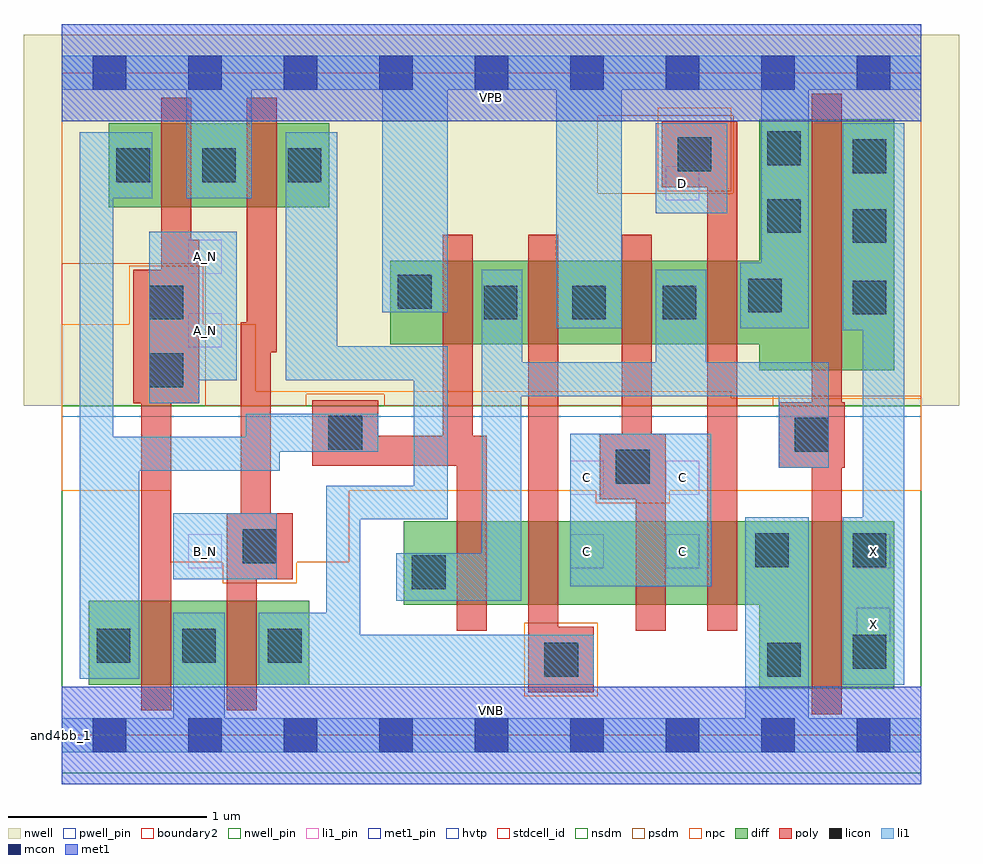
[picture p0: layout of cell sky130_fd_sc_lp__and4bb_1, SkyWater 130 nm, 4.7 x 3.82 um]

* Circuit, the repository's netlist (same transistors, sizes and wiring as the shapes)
* Copyright 2020 The SkyWater PDK Authors
*
* Licensed under the Apache License, Version 2.0 (the "License");
* you may not use this file except in compliance with the License.
* You may obtain a copy of the License at
*
*     https://www.apache.org/licenses/LICENSE-2.0
*
* Unless required by applicable law or agreed to in writing, software
* distributed under the License is distributed on an "AS IS" BASIS,
* WITHOUT WARRANTIES OR CONDITIONS OF ANY KIND, either express or implied.
* See the License for the specific language governing permissions and
* limitations under the License.
*
* SPDX-License-Identifier: Apache-2.0

.SUBCKT sky130_fd_sc_lp__and4bb_1 A_N B_N C D VGND VNB VPB VPWR X
*.PININFO A_N:I B_N:I C:I D:I VGND:I VNB:I VPB:I VPWR:I X:O
MMP0 y A VPWR VPB sky130_fd_pr__pfet_01v8_hvt m=1 w=0.42U l=0.15U mult=1 sa=0.265
+ sb=0.265 sd=0.28 area=0.063 perim=1.14
MMP1 y B VPWR VPB sky130_fd_pr__pfet_01v8_hvt m=1 w=0.42U l=0.15U mult=1 sa=0.265
+ sb=0.265 sd=0.28 area=0.063 perim=1.14
MMP2 y C VPWR VPB sky130_fd_pr__pfet_01v8_hvt m=1 w=0.42U l=0.15U mult=1 sa=0.265
+ sb=0.265 sd=0.28 area=0.063 perim=1.14
MMP3 y D VPWR VPB sky130_fd_pr__pfet_01v8_hvt m=1 w=0.42U l=0.15U mult=1 sa=0.265
+ sb=0.265 sd=0.28 area=0.063 perim=1.14
MMIP0 A A_N VPWR VPB sky130_fd_pr__pfet_01v8_hvt m=1 w=0.42U l=0.15U mult=1 sa=0.265
+ sb=0.265 sd=0.28 area=0.063 perim=1.14
MMIP1 B B_N VPWR VPB sky130_fd_pr__pfet_01v8_hvt m=1 w=0.42U l=0.15U mult=1 sa=0.265
+ sb=0.265 sd=0.28 area=0.063 perim=1.14
MMIP2 X y VPWR VPB sky130_fd_pr__pfet_01v8_hvt m=1 w=1.26U l=0.15U mult=1 sa=0.265
+ sb=0.265 sd=0.28 area=0.063 perim=1.14
MMN0 y A sndA VNB sky130_fd_pr__nfet_01v8 m=1 w=0.42U l=0.15U mult=1 sa=0.265 sb=0.265
+ sd=0.28 area=0.063 perim=1.14
MMN1 sndA B sndB VNB sky130_fd_pr__nfet_01v8 m=1 w=0.42U l=0.15U mult=1 sa=0.265
+ sb=0.265 sd=0.28 area=0.063 perim=1.14
MMN2 sndB C sndC VNB sky130_fd_pr__nfet_01v8 m=1 w=0.42U l=0.15U mult=1 sa=0.265
+ sb=0.265 sd=0.28 area=0.063 perim=1.14
MMN3 sndC D VGND VNB sky130_fd_pr__nfet_01v8 m=1 w=0.42U l=0.15U mult=1 sa=0.265
+ sb=0.265 sd=0.28 area=0.063 perim=1.14
MMIN0 A A_N VGND VNB sky130_fd_pr__nfet_01v8 m=1 w=0.42U l=0.15U mult=1 sa=0.265
+ sb=0.265 sd=0.28 area=0.063 perim=1.14
MMIN1 B B_N VGND VNB sky130_fd_pr__nfet_01v8 m=1 w=0.42U l=0.15U mult=1 sa=0.265
+ sb=0.265 sd=0.28 area=0.063 perim=1.14
MMIN2 X y VGND VNB sky130_fd_pr__nfet_01v8 m=1 w=0.84U l=0.15U mult=1 sa=0.265
+ sb=0.265 sd=0.28 area=0.063 perim=1.14
.ENDS sky130_fd_sc_lp__and4bb_1

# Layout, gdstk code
import gdstk
lib = gdstk.Library(unit=1e-6, precision=1e-09)
def R(c, l, rs):  # rectangles x0, y0, x1, y1
    for r in rs: c.add(gdstk.rectangle(r[:2], r[2:], *l))
def A(c, l, x, y, w, h, nx, ny, dx, dy):  # array of equal rectangles
    R(c, l, [(x+i*dx, y+j*dy, x+i*dx+w, y+j*dy+h) for i in range(nx) for j in range(ny)])
def P(c, l, *ps):  # polygons
    for p in ps: c.add(gdstk.Polygon(p, *l))
nwell_pin = (64, 16)
nwell = (64, 20)
diff = (65, 20)
poly = (66, 20)
licon = (66, 44)
li1_pin = (67, 16)
li1 = (67, 20)
mcon = (67, 44)
met1_pin = (68, 16)
met1 = (68, 20)
hvtp = (78, 44)
stdcell_id = (81, 4)
nsdm = (93, 44)
psdm = (94, 20)
npc = (95, 20)
pwell_pin = (122, 16)
boundary2 = (236, 0)

sky130_fd_sc_lp__and4bb_ = lib.new_cell('sky130_fd_sc_lp__and4bb_1')
R(sky130_fd_sc_lp__and4bb_, nwell_pin, [(0,3.085,4.32,3.33)])
R(sky130_fd_sc_lp__and4bb_, nwell, [(-0.19,1.655,4.51,3.52)])
R(sky130_fd_sc_lp__and4bb_, diff, [(0.135,0.255,1.245,0.675), (0.235,2.655,1.345,3.075)])
P(sky130_fd_sc_lp__and4bb_, diff, [(4.185,3.095),(3.505,3.095),(3.505,2.385),(1.65,2.385),(1.65,1.965),(3.505,1.965),(3.505,1.835),(4.185,1.835)],
  [(4.185,1.075),(1.72,1.075),(1.72,0.655),(3.505,0.655),(3.505,0.235),(4.185,0.235)])
P(sky130_fd_sc_lp__and4bb_, poly, [(0.69,2.49),(0.65,2.49),(0.65,3.205),(0.5,3.205),(0.5,2.34),(0.36,2.34),(0.36,1.67),(0.4,1.67),(0.4,0.125),(0.55,0.125),(0.55,1.67),(0.69,1.67)],
  [(1.16,1.115),(1.05,1.115),(1.05,1.925),(1.08,1.925),(1.08,3.205),(0.93,3.205),(0.93,2.075),(0.9,2.075),(0.9,1.115),(0.83,1.115),(0.83,0.125),(0.98,0.125),(0.98,0.785),(1.16,0.785)],
  [(2.135,1.505),(2.065,1.505),(2.065,2.515),(1.915,2.515),(1.915,1.505),(1.59,1.505),(1.59,1.685),(1.26,1.685),(1.26,1.355),(1.985,1.355),(1.985,0.525),(2.135,0.525)],
  [(2.675,0.545),(2.495,0.545),(2.495,2.515),(2.345,2.515),(2.345,0.215),(2.675,0.215)],
  [(3.035,1.515),(2.965,1.515),(2.965,2.515),(2.815,2.515),(2.815,1.515),(2.705,1.515),(2.705,1.185),(2.885,1.185),(2.885,0.525),(3.035,0.525)],
  [(3.395,3.085),(3.015,3.085),(3.015,2.755),(3.245,2.755),(3.245,0.525),(3.395,0.525)],
  [(3.935,1.675),(3.92,1.675),(3.92,3.225),(3.77,3.225),(3.77,1.675),(3.605,1.675),(3.605,1.345),(3.77,1.345),(3.77,0.105),(3.92,0.105),(3.92,1.345),(3.935,1.345)])
A(sky130_fd_sc_lp__and4bb_, licon, 0.175, 0.365, 0.17, 0.17, 3, 1, 0.43, 0)
A(sky130_fd_sc_lp__and4bb_, licon, 0.275, 2.78, 0.17, 0.17, 3, 1, 0.43, 0)
R(sky130_fd_sc_lp__and4bb_, licon, [(2.425,0.295,2.595,0.465), (3.545,0.295,3.715,0.465), (3.975,0.335,4.145,0.505), (1.76,0.735,1.93,0.905), (3.485,0.845,3.655,1.015), (3.975,0.845,4.145,1.015), (0.91,0.865,1.08,1.035), (2.785,1.265,2.955,1.435), (3.685,1.425,3.855,1.595), (1.34,1.435,1.51,1.605), (0.44,1.75,0.61,1.92), (0.44,2.09,0.61,2.26), (2.12,2.09,2.29,2.26), (2.565,2.09,2.735,2.26), (3.02,2.09,3.19,2.26), (3.975,2.115,4.145,2.285), (3.45,2.125,3.62,2.295), (1.69,2.145,1.86,2.315), (3.975,2.475,4.145,2.645), (3.545,2.525,3.715,2.695), (3.975,2.825,4.145,2.995), (3.095,2.835,3.265,3.005), (3.545,2.865,3.715,3.035)])
R(sky130_fd_sc_lp__and4bb_, li1_pin, [(3.995,0.47,4.165,0.64), (0.635,0.84,0.805,1.01), (2.555,0.84,2.725,1.01), (3.035,0.84,3.205,1.01), (3.995,0.84,4.165,1.01), (2.555,1.21,2.725,1.38), (3.035,1.21,3.205,1.38), (0.635,1.95,0.805,2.12), (0.635,2.32,0.805,2.49), (3.035,2.69,3.205,2.86)])
R(sky130_fd_sc_lp__and4bb_, li1, [(2.555,0.75,3.265,1.515), (0.56,0.785,1.08,1.115), (2.985,2.625,3.345,3.075)])
P(sky130_fd_sc_lp__and4bb_, li1, [(4.32,3.415),(0,3.415),(0,3.245),(0.625,3.245),(0.625,2.7),(0.955,2.7),(0.955,3.245),(1.61,3.245),(1.61,2.125),(1.94,2.125),(1.94,3.245),(2.485,3.245),(2.485,2.045),(2.815,2.045),(2.815,3.245),(3.515,3.245),(3.515,2.375),(3.41,2.375),(3.41,2.045),(3.755,2.045),(3.755,3.245),(4.32,3.245)],
  [(0.56,0.085),(0.56,0.615),(0.82,0.615),(0.82,0.085),(3.435,0.085),(3.435,1.095),(3.755,1.095),(3.755,0.085),(4.32,0.085),(4.32,-0.085),(0,-0.085),(0,0.085)],
  [(1.33,1.255),(1.77,1.255),(1.77,1.785),(1.125,1.785),(1.125,3.03),(1.385,3.03),(1.385,1.955),(1.94,1.955),(1.94,1.085),(1.5,1.085),(1.5,0.505),(2.675,0.505),(2.675,0.255),(0.99,0.255),(0.99,0.615),(1.33,0.615)],
  [(0.88,2.53),(0.44,2.53),(0.44,1.67),(0.69,1.67),(0.69,1.785),(0.88,1.785)],
  [(3.925,0.255),(3.925,1.095),(4.025,1.095),(4.025,2.035),(3.925,2.035),(3.925,3.075),(4.235,3.075),(4.235,0.255)],
  [(2.11,0.915),(2.11,2.34),(2.315,2.34),(2.315,1.875),(2.985,1.875),(2.985,2.34),(3.24,2.34),(3.24,1.875),(3.855,1.875),(3.855,1.345),(3.605,1.345),(3.605,1.705),(2.31,1.705),(2.31,0.675),(1.68,0.675),(1.68,0.915)],
  [(1.59,1.615),(0.925,1.615),(0.925,1.5),(0.26,1.5),(0.26,2.7),(0.455,2.7),(0.455,3.03),(0.09,3.03),(0.09,0.285),(0.39,0.285),(0.39,1.33),(1.095,1.33),(1.095,1.425),(1.59,1.425)])
A(sky130_fd_sc_lp__and4bb_, mcon, 0.155, -0.085, 0.17, 0.17, 9, 2, 0.48, 3.33)
R(sky130_fd_sc_lp__and4bb_, met1_pin, [(0,0,4.32,0.245), (0,3.085,4.32,3.33)])
R(sky130_fd_sc_lp__and4bb_, met1, [(0,-0.245,4.32,0.245), (0,3.085,4.32,3.575)])
R(sky130_fd_sc_lp__and4bb_, hvtp, [(0,1.6,4.32,3.33)])
R(sky130_fd_sc_lp__and4bb_, stdcell_id, [(0,0,4.32,3.33)])
R(sky130_fd_sc_lp__and4bb_, nsdm, [(0,-0.19,4.32,1.655)])
P(sky130_fd_sc_lp__and4bb_, psdm, [(4.32,3.52),(3.375,3.52),(3.375,2.725),(2.695,2.725),(2.695,3.115),(3.375,3.115),(3.375,3.52),(0,3.52),(0,2.37),(0.72,2.37),(0.72,1.655),(1.23,1.655),(1.23,1.715),(1.62,1.715),(1.62,1.655),(3.575,1.655),(3.575,1.705),(4.32,1.705)])
R(sky130_fd_sc_lp__and4bb_, npc, [(2.325,0.195,2.695,0.565), (2.995,2.735,3.365,3.155)])
P(sky130_fd_sc_lp__and4bb_, npc, [(4.32,1.695),(3.365,1.695),(3.365,1.73),(0.975,1.73),(0.975,2.065),(0.71,2.065),(0.71,2.36),(0.34,2.36),(0.34,2.065),(0,2.065),(0,1.23),(0.545,1.23),(0.545,0.87),(0.81,0.87),(0.81,0.765),(1.18,0.765),(1.18,0.87),(1.445,0.87),(1.445,1.23),(2.685,1.23),(2.685,1.165),(3.055,1.165),(3.055,1.23),(4.32,1.23)])
R(sky130_fd_sc_lp__and4bb_, pwell_pin, [(0,0,4.32,0.245)])
R(sky130_fd_sc_lp__and4bb_, boundary2, [(0,0,4.32,3.33)])
sky130_fd_sc_lp__and4bb_.add(gdstk.Label('VNB', (2.16,0.123), layer=64, texttype=59))
sky130_fd_sc_lp__and4bb_.add(gdstk.Label('VPB', (2.16,3.208), layer=64, texttype=5))
sky130_fd_sc_lp__and4bb_.add(gdstk.Label('and4bb_1', (0,0), layer=83, texttype=44))
sky130_fd_sc_lp__and4bb_.add(gdstk.Label('VPWR', (2.16,3.208), layer=68, texttype=5))
sky130_fd_sc_lp__and4bb_.add(gdstk.Label('VGND', (2.16,0.123), layer=68, texttype=5))
sky130_fd_sc_lp__and4bb_.add(gdstk.Label('C', (2.64,0.925), layer=67, texttype=5))
sky130_fd_sc_lp__and4bb_.add(gdstk.Label('C', (2.64,1.295), layer=67, texttype=5))
sky130_fd_sc_lp__and4bb_.add(gdstk.Label('C', (3.12,0.925), layer=67, texttype=5))
sky130_fd_sc_lp__and4bb_.add(gdstk.Label('C', (3.12,1.295), layer=67, texttype=5))
sky130_fd_sc_lp__and4bb_.add(gdstk.Label('A_N', (0.72,2.035), layer=67, texttype=5))
sky130_fd_sc_lp__and4bb_.add(gdstk.Label('A_N', (0.72,2.405), layer=67, texttype=5))
sky130_fd_sc_lp__and4bb_.add(gdstk.Label('X', (4.08,0.555), layer=67, texttype=5))
sky130_fd_sc_lp__and4bb_.add(gdstk.Label('X', (4.08,0.925), layer=67, texttype=5))
sky130_fd_sc_lp__and4bb_.add(gdstk.Label('D', (3.12,2.775), layer=67, texttype=5))
sky130_fd_sc_lp__and4bb_.add(gdstk.Label('B_N', (0.72,0.925), layer=67, texttype=5))

lib.write_gds('sky130_fd_sc_lp__and4bb_1.gds')
